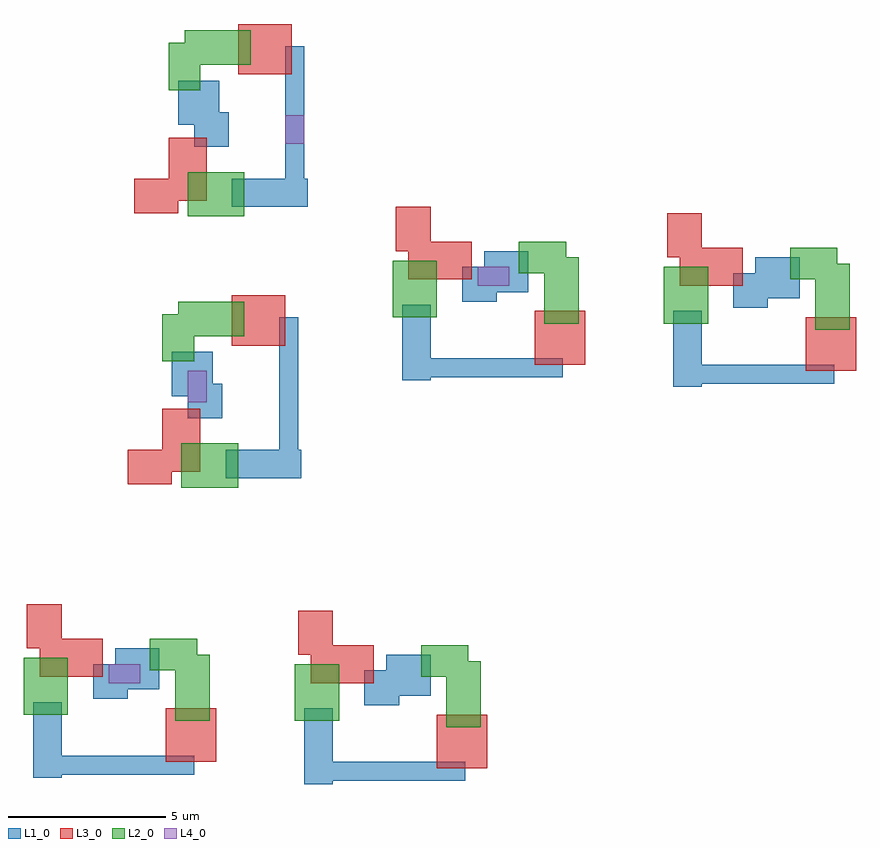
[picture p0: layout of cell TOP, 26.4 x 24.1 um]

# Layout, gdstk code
from math import pi, radians
import gdstk
lib = gdstk.Library(unit=1e-6, precision=1e-09)
def R(c, l, rs):  # rectangles x0, y0, x1, y1
    for r in rs: c.add(gdstk.rectangle(r[:2], r[2:], *l))
L1_0 = (1, 0)
L2_0 = (2, 0)
L3_0 = (3, 0)
L4_0 = (4, 0)

c_c1 = lib.new_cell('C1')
R(c_c1, L1_0, [(-2.7,-3.3,-1.8,-0.9), (-2.1,-3.2,2.4,-2.6), (-0.8,-0.8,0.3,0.3), (-0.1,-0.5,1.3,0.8)])
R(c_c1, L2_0, [(1.8,-1.5,2.9,0.6), (-3,-1.3,-1.6,0.5), (1,0.1,2.5,1.1)])
R(c_c1, L3_0, [(1.5,-2.8,3.1,-1.1), (-2.5,-0.1,-0.5,1.1), (-2.9,0.8,-1.8,2.2)])

c_c2 = lib.new_cell('C2')
R(c_c2, L4_0, [(2.7,3.1,3.7,3.7)])
c_c2.add(gdstk.Reference(c_c1, (3,3.4)))
c_c2.add(gdstk.Reference(c_c1, (11.6,3.2)))

c_c3 = lib.new_cell('C3')
R(c_c3, L4_0, [(5,10.9,5.6,11.8)])
c_c3.add(gdstk.Reference(c_c2, (5.6,0), rotation=pi/2))
c_c3.add(gdstk.Reference(c_c2, (8.4,3.3)))

top = lib.new_cell('TOP')
top.add(gdstk.Reference(c_c2, (0.9,0.1)))
top.add(gdstk.Reference(c_c3, (4.2,9.4)))

lib.write_gds('TOP.gds')
